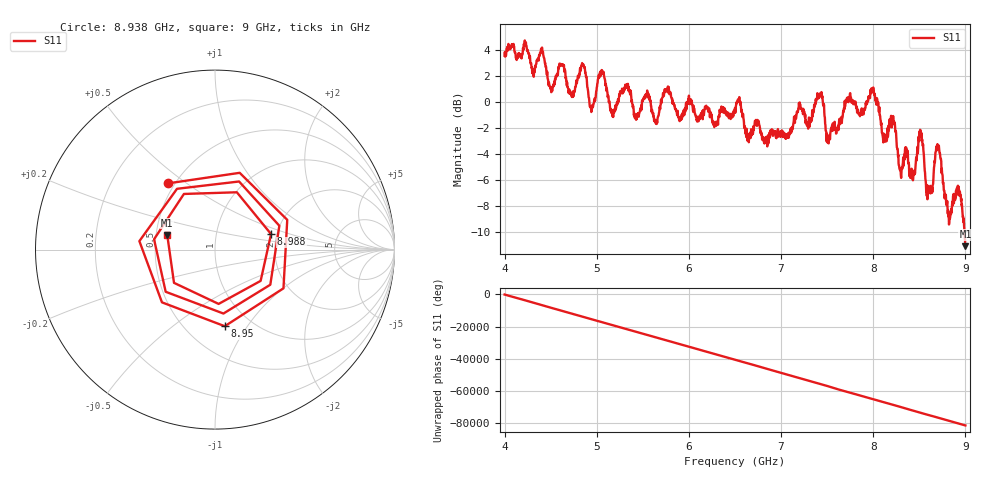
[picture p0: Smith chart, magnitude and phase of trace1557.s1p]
! Created with skrf 1.8.0 (http://scikit-rf.org).
# Hz S RI R 50.0
!freq ReS11 ImS11
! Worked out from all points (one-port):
!   1601 points, 4 GHz to 9 GHz, reference 50 ohm
!   lowest |S11| = -11.1 dB at 9 GHz (marker M1), VSWR 1.77, Z = 28.7 + j5.04 ohm
!   |S11| at or under -10 dB: 8.989464 GHz to end of sweep
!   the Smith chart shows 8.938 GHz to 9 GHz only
!   S11 on the Smith chart (normalised r, x): 8.938 GHz: 0.46, +0.43; 8.95 GHz: 0.76, -0.79; 8.988 GHz: 1.86, +0.36; 9 GHz: 0.57, +0.10
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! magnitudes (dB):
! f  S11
! 4 GHz  3.5
! 4.403 GHz  3.9
! 4.509 GHz  1.0
! 4.625 GHz  2.8
! 4.731 GHz  0.4
! 4.856 GHz  2.9
! 4.944 GHz  -0.5
! 5.053 GHz  2.4
! 5.169 GHz  -0.7
! 5.25 GHz  0.5
! 5.875 GHz  -1.0
! 6.5 GHz  -0.5
! 7.125 GHz  -2.1
! 7.419 GHz  0.5
! 7.519 GHz  -2.6
! 7.75 GHz  0.7
! 7.994 GHz  1.0
! 8.119 GHz  -2.7
! 8.216 GHz  -1.1
! 8.375 GHz  -3.8
! 8.516 GHz  -2.4
! 8.6 GHz  -6.6
! 8.7 GHz  -3.3
! 8.819 GHz  -8.7
! 8.938 GHz  -6.9
! 8.95 GHz  -7.3
! 8.988 GHz  -9.8
! 9 GHz  -11.1
